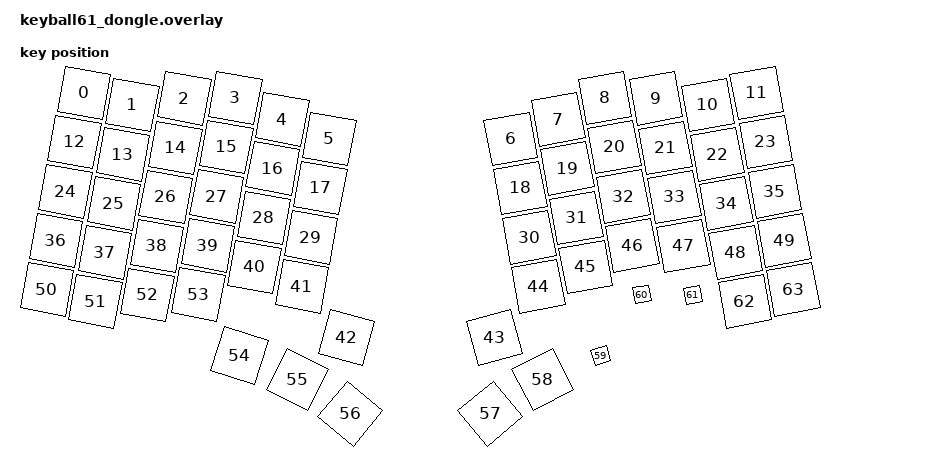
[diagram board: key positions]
/*
 * Донгл Keyball61: подключается к компьютеру по USB, клавиш и трекбола
 * на нём нет. Принимает данные от половин по Bluetooth.
 */

#include "keyball61_layout.dtsi"
#include "keyball61_trackball_split.dtsi"
#include <input/processors.dtsi>
#include <physical_layouts.dtsi>
#include <dt-bindings/zmk/input_transform.h>
#include <zephyr/dt-bindings/input/input-event-codes.h>

/ {
    chosen {
        /* Для ZMK Studio: вместо отдельных kscan и matrix-transform
         * используется физическая раскладка, которая на них ссылается. */
        /delete-property/ zmk,matrix-transform;
        zmk,physical-layout = &keyball61_physical_layout;
    };

    /* Физическая раскладка клавиш для ZMK Studio (порядок клавиш = порядок в keymap).
     * Размеры и координаты в сотых долях клавиши (100 = 1 клавиша). */
    keyball61_physical_layout: keyball61_physical_layout {
        compatible = "zmk,physical-layout";
        display-name = "Keyball61";
        kscan = <&mock_kscan>;
        transform = <&default_transform>;
        keys
        = <&key_physical_attrs 100 100 99 25 1060 149 75>
        , <&key_physical_attrs 100 100 196 49 1060 246 99>
        , <&key_physical_attrs 100 100 300 36 1060 350 86>
        , <&key_physical_attrs 100 100 402 35 1060 452 85>
        , <&key_physical_attrs 100 100 496 78 1060 546 128>
        , <&key_physical_attrs 100 100 590 117 1060 640 167>
        , <&key_physical_attrs 100 100 953 117 (-1060) 1003 167>
        , <&key_physical_attrs 100 100 1048 78 (-1060) 1098 128>
        , <&key_physical_attrs 100 100 1141 35 (-1060) 1191 85>
        , <&key_physical_attrs 100 100 1243 36 (-1060) 1293 86>
        , <&key_physical_attrs 100 100 1347 49 (-1060) 1397 99>
        , <&key_physical_attrs 100 100 1445 25 (-1060) 1495 75>
        , <&key_physical_attrs 100 100 80 123 1060 130 173>
        , <&key_physical_attrs 100 100 177 148 1060 227 198>
        , <&key_physical_attrs 100 100 282 135 1060 332 185>
        , <&key_physical_attrs 100 100 384 133 1060 434 183>
        , <&key_physical_attrs 100 100 477 176 1060 527 226>
        , <&key_physical_attrs 100 100 572 215 1060 622 265>
        , <&key_physical_attrs 100 100 972 215 (-1060) 1022 265>
        , <&key_physical_attrs 100 100 1066 176 (-1060) 1116 226>
        , <&key_physical_attrs 100 100 1160 133 (-1060) 1210 183>
        , <&key_physical_attrs 100 100 1262 135 (-1060) 1312 185>
        , <&key_physical_attrs 100 100 1366 148 (-1060) 1416 198>
        , <&key_physical_attrs 100 100 1463 123 (-1060) 1513 173>
        , <&key_physical_attrs 100 100 62 222 1060 112 272>
        , <&key_physical_attrs 100 100 159 246 1060 209 296>
        , <&key_physical_attrs 100 100 263 233 1060 313 283>
        , <&key_physical_attrs 100 100 365 232 1060 415 282>
        , <&key_physical_attrs 100 100 459 275 1060 509 325>
        , <&key_physical_attrs 100 100 553 314 1060 603 364>
        , <&key_physical_attrs 100 100 990 314 (-1060) 1040 364>
        , <&key_physical_attrs 100 100 1084 275 (-1060) 1134 325>
        , <&key_physical_attrs 100 100 1178 232 (-1060) 1228 282>
        , <&key_physical_attrs 100 100 1280 233 (-1060) 1330 283>
        , <&key_physical_attrs 100 100 1384 246 (-1060) 1434 296>
        , <&key_physical_attrs 100 100 1481 222 (-1060) 1531 272>
        , <&key_physical_attrs 100 100 43 320 1060 93 370>
        , <&key_physical_attrs 100 100 141 344 1060 191 394>
        , <&key_physical_attrs 100 100 245 331 1060 295 381>
        , <&key_physical_attrs 100 100 347 330 1060 397 380>
        , <&key_physical_attrs 100 100 440 373 1060 490 423>
        , <&key_physical_attrs 100 100 535 412 1060 585 462>
        , <&key_physical_attrs 100 100 624 514 1560 674 564>
        , <&key_physical_attrs 100 100 920 514 (-1560) 970 564>
        , <&key_physical_attrs 100 100 1008 412 (-1060) 1058 462>
        , <&key_physical_attrs 100 100 1103 373 (-1060) 1153 423>
        , <&key_physical_attrs 100 100 1196 330 (-1060) 1246 380>
        , <&key_physical_attrs 100 100 1298 331 (-1060) 1348 381>
        , <&key_physical_attrs 100 100 1403 344 (-1060) 1453 394>
        , <&key_physical_attrs 100 100 1500 320 (-1060) 1550 370>
        , <&key_physical_attrs 100 100 25 418 1060 75 468>
        , <&key_physical_attrs 100 100 122 442 1060 172 492>
        , <&key_physical_attrs 100 100 226 429 1060 276 479>
        , <&key_physical_attrs 100 100 328 428 1060 378 478>
        , <&key_physical_attrs 100 100 410 550 1760 460 600>
        , <&key_physical_attrs 100 100 526 598 2760 576 648>
        , <&key_physical_attrs 100 100 632 667 3960 682 717>
        , <&key_physical_attrs 100 100 912 667 (-3960) 962 717>
        , <&key_physical_attrs 100 100 1017 598 (-2760) 1067 648>
        , <&key_physical_attrs 40 40 1163 580 (-1760) 1183 600>
        , <&key_physical_attrs 40 40 1245 458 (-1060) 1265 478>
        , <&key_physical_attrs 40 40 1347 459 (-1060) 1367 479>
        , <&key_physical_attrs 100 100 1421 442 (-1060) 1471 492>
        , <&key_physical_attrs 100 100 1518 418 (-1060) 1568 468>
        ;
    };

    mock_kscan: mock_kscan_0 {
        compatible = "zmk,kscan-mock";
        columns = <0>;
        rows = <0>;
        events = <0>;
    };

    input_processors {
        /* Масштабирование прокрутки с накоплением остатка (плавный скролл) */
        kb_scroll_scaler: kb_scroll_scaler {
            compatible = "zmk,input-processor-scaler";
            #input-processor-cells = <2>;
            type = <INPUT_EV_REL>;
            codes = <INPUT_REL_WHEEL INPUT_REL_HWHEEL>;
            track-remainders;
        };

        /* Масштабирование курсора с накоплением остатка (медленный режим без «мёртвых» шагов) */
        kb_xy_scaler: kb_xy_scaler {
            compatible = "zmk,input-processor-scaler";
            #input-processor-cells = <2>;
            type = <INPUT_EV_REL>;
            codes = <INPUT_REL_X INPUT_REL_Y>;
            track-remainders;
        };
    };

    /* Слои-флаги скорости прокрутки + слой 3 (режим прокрутки) = слои 8 и 9 */
    conditional_layers {
        compatible = "zmk,conditional-layers";

        scroll_slow_active {
            if-layers = <3 6>;
            then-layer = <8>;
        };

        scroll_fast_active {
            if-layers = <3 7>;
            then-layer = <9>;
        };
    };
};

/* Включаем обработку трекбола на донгле.
 *
 * Правила проверяются сверху вниз, срабатывает первое подошедшее.
 * Слои: 3 = прокрутка (удерживается), 4/5 = курсор медленнее/быстрее (включаются клавишей),
 *       6/7 = прокрутка медленнее/быстрее (включаются клавишей), 8/9 = служебные.
 */
&trackball_listener {
    status = "okay";

    /* Прокрутка, медленная (слой 3 + флаг 6) */
    scroll_slow {
        layers = <8>;
        input-processors = <&zip_xy_to_scroll_mapper &zip_scroll_transform INPUT_TRANSFORM_Y_INVERT &kb_scroll_scaler 1 8>;
    };

    /* Прокрутка, быстрая (слой 3 + флаг 7) */
    scroll_fast {
        layers = <9>;
        input-processors = <&zip_xy_to_scroll_mapper &zip_scroll_transform INPUT_TRANSFORM_Y_INVERT &kb_scroll_scaler 1 2>;
    };

    /* Прокрутка, обычная. 1/4 как делитель 4 в QMK. */
    scroller {
        layers = <3>;
        input-processors = <&zip_xy_to_scroll_mapper &zip_scroll_transform INPUT_TRANSFORM_Y_INVERT &kb_scroll_scaler 1 4>;
    };

    /* Курсор медленнее: в 2 раза */
    cursor_slow {
        layers = <4>;
        input-processors = <&kb_xy_scaler 1 2>;
    };

    /* Курсор быстрее: в 2 раза */
    cursor_fast {
        layers = <5>;
        input-processors = <&kb_xy_scaler 2 1>;
    };
};
